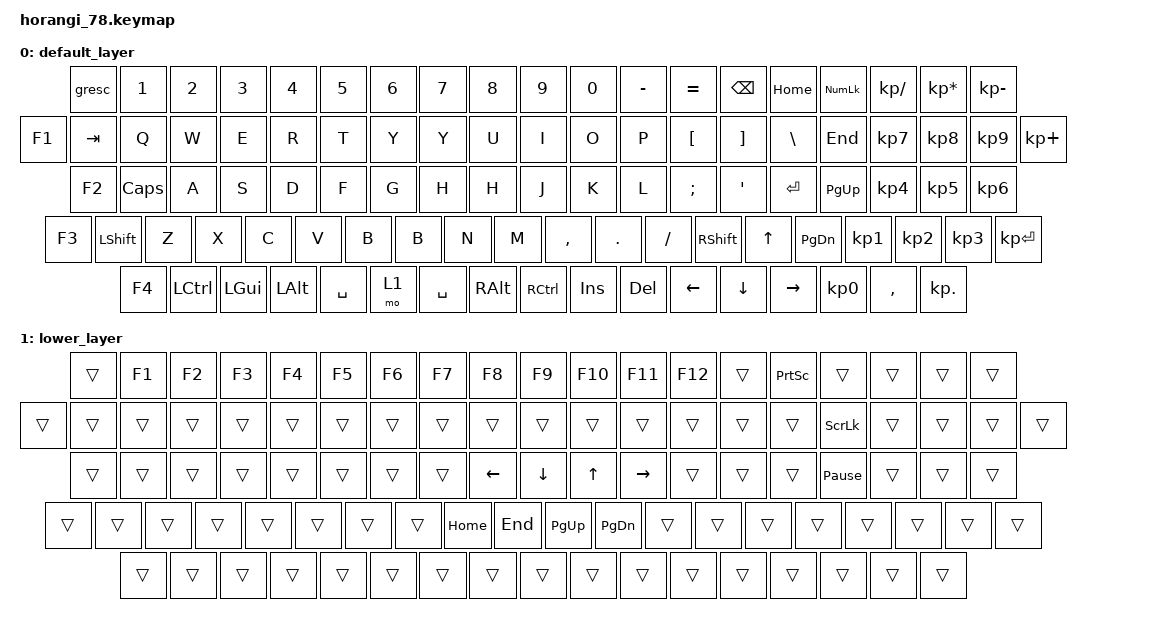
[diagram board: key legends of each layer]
#include <behaviors.dtsi>
#include <dt-bindings/zmk/keys.h>
#include <dt-bindings/zmk/bt.h>
#include <dt-bindings/zmk/ext_power.h>
#include <dt-bindings/zmk/outputs.h>

/{

    macros {
        bt_0: bt_profile_macro_0 {
            label = "BT_0";
            compatible = "zmk,behavior-macro";
            #binding-cells = <0>;
            bindings
                = <&out OUT_BLE>
                , <&bt BT_SEL 0>;
        };

        bt_1: bt_profile_macro_1 {
            label = "BT_1";
            compatible = "zmk,behavior-macro";
            #binding-cells = <0>;
            bindings
                = <&out OUT_BLE>
                , <&bt BT_SEL 1>;
        };
        
        bt_2: bt_profile_macro_2 {
            label = "BT_2";
            compatible = "zmk,behavior-macro";
            #binding-cells = <0>;
            bindings
                = <&out OUT_BLE>
                , <&bt BT_SEL 2>;
        };

        select_usb: usb_profile_macro {
            label = "SELECT_USB";
            compatible = "zmk,behavior-macro";
            #binding-cells = <0>;
            bindings
                = <&bt BT_DISC 0>
                , <&bt BT_DISC 1>
                , <&bt BT_DISC 2>
                , <&out OUT_USB>;
        };

        bt_0_clr: bt_profile_macro_0_clr {
            label = "BT_0_CLR";
            compatible = "zmk,behavior-macro";
            #binding-cells = <0>;
            bindings
                = <&out OUT_BLE>
                , <&bt BT_SEL 0>
                , <&macro_wait_time 1000>
                , <&bt BT_CLR>;
        };

        bt_1_clr: bt_profile_macro_1_clr {
            label = "BT_1_CLR";
            compatible = "zmk,behavior-macro";
            #binding-cells = <0>;
            bindings
                = <&out OUT_BLE>
                , <&bt BT_SEL 1>
                , <&macro_wait_time 1000>
                , <&bt BT_CLR>;
        };

        bt_2_clr: bt_profile_macro_2_clr {
            label = "BT_2_CLR";
            compatible = "zmk,behavior-macro";
            #binding-cells = <0>;
            bindings
                = <&out OUT_BLE>
                , <&bt BT_SEL 2>
                , <&macro_wait_time 1000>
                , <&bt BT_CLR>;
        };
    };

    behaviors {
        gresc: grave_escape {
            compatible = "zmk,behavior-mod-morph";
            label = "GRAVE_ESCAPE";
            #binding-cells = <0>;
            bindings = <&kp ESC>, <&kp GRAVE>;
            mods = <(MOD_LGUI|MOD_LSFT|MOD_RGUI|MOD_RSFT|MOD_RALT)>;
            keep-mods = <(MOD_RSFT)>;
        };
    };

    keymap {
        compatible = "zmk,keymap";

        default_layer {
            bindings = <
         &gresc  &kp N1 &kp N2 &kp N3 &kp N4 &kp N5 &kp N6           &kp N7  &kp N8  &kp N9  &kp N0   &kp MINUS &kp EQUAL      &kp BSPC   &kp HOME           &kp KP_NUM   &kp KP_DIVIDE &kp KP_MULTIPLY &kp KP_MINUS
&kp F1   &kp TAB   &kp Q   &kp W   &kp E   &kp R   &kp T   &kp Y    &kp Y   &kp U   &kp I   &kp O   &kp P   &kp LBKT &kp RBKT   &kp BSLH   &kp END            &kp KP_N7    &kp KP_N8     &kp KP_N9       &kp KP_PLUS
&kp F2    &kp CAPS  &kp A   &kp S   &kp D   &kp F   &kp G   &kp H    &kp H   &kp J   &kp K   &kp L   &kp SEMI  &kp SQT          &kp ENTER  &kp PG_UP          &kp KP_N4    &kp KP_N5     &kp KP_N6
&kp F3     &kp LSHFT &kp Z   &kp X   &kp C   &kp V   &kp B         &kp B &kp N   &kp M   &kp COMMA &kp DOT &kp SLASH &kp RSHFT  &kp UP     &kp PG_DN          &kp KP_N1    &kp KP_N2     &kp KP_N3       &kp KP_ENTER
&kp F4     &kp LCTRL &kp LGUI &kp LALT     &kp SPACE  &mo 1           &kp SPACE   &kp RALT  &kp RCTRL  &kp INS &kp DEL    &kp LEFT &kp DOWN   &kp RIGHT  &kp KP_N0     &kp COMMA     &kp KP_DOT
            >;
        };

        lower_layer {
            bindings = <
         &trans   &kp F1 &kp F2 &kp F3 &kp F4 &kp F5 &kp F6                 &kp F7  &kp F8  &kp F9  &kp F10   &kp F11 &kp F12      &trans    &kp PRINTSCREEN       &trans &trans &trans &trans
&trans   &trans   &trans   &trans   &trans   &trans   &trans   &trans    &trans  &trans  &trans  &trans  &trans  &trans &trans   &trans    &kp SLCK             &trans &trans &trans &trans
&trans    &trans   &trans   &trans   &trans   &trans   &trans   &trans    &kp LEFT  &kp DOWN   &kp UP   &kp RIGHT   &trans  &trans     &trans   &kp PAUSE_BREAK &trans &trans &trans
&trans     &trans   &trans   &trans   &trans   &trans   &trans          &trans &kp HOME   &kp END   &kp PG_UP &kp PG_DN &trans &trans   &trans      &trans      &trans &trans &trans &trans
&trans   &trans &trans &trans     &trans  &trans                &trans   &trans  &trans &trans &trans    &trans &trans    &trans                             &trans &trans &trans
            >;
        };
       
    };
};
